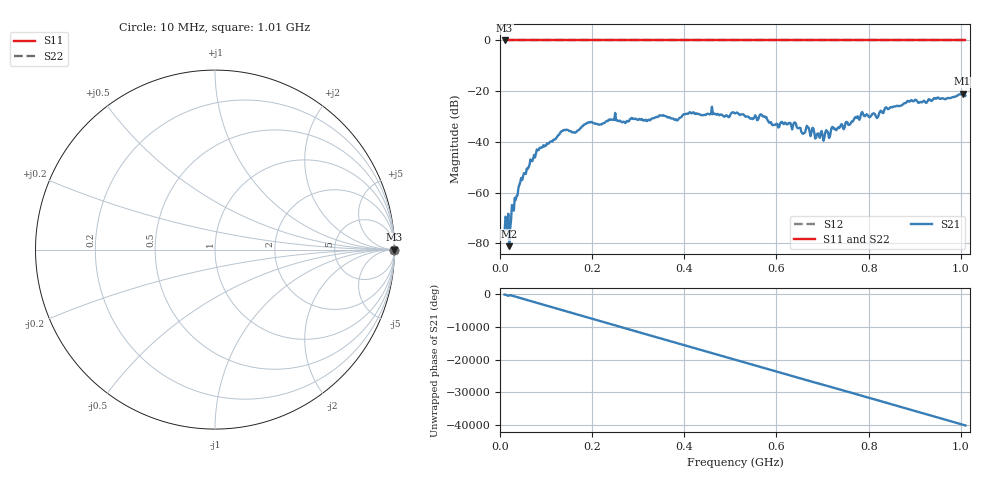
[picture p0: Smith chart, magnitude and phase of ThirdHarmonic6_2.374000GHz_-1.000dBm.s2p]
! 8/17/2025 3:44:16 AM
! C:\ANRITSUVNA\TEMP\TEMP.S2P
! CHANNEL.1
! TR.MEASUREMENT
! RAW.DATA
! RF.CORRECTION.OFF
! AVERAGING.OFF
! IF.BANDWIDTH: 5KHZ
! SWEEPTYPE:  FREQ.SWEEP(Linear)
! Reference Plane Port Info
! PORT:  PORT1  PORT2
! DISTANCE:  0  m  0  m
! TIME:  0  s  0  s
! PHASE.OFFSET:  0  deg.  0  deg.
! LOSS:  0  dB  0  dB
! REF.LOSS:  0  dB  0  dB
! REF.FREQ:  0  Hz  0  Hz
! Power Info
! POWER:  -20  dBm  -20  dBm
! EFF.POWER:  -20  dBm  -20  dBm
! SOURCE.ATTEN:  0  dB  0  dB
! TEST.ATTEN:  0  dB  0  dB
# GHZ S RI R 50.0
! FREQ.GHZ  S11RE  S11IM  S21RE  S21IM  S12RE  S12IM  S22RE  S22IM
!; PortSelection: Port_12
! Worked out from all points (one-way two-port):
!   501 points, 10 MHz to 1.01 GHz, reference 50 ohm
!   highest |S21| = -21.00 dB at 1.004 GHz (marker M1); lowest = -81.1 dB at 20 MHz (marker M2)
!   lowest |S11| = 0.0 dB at 10 MHz (marker M3)
!   |S11| at or under -10 dB: nowhere
!   |S22| runs from 0.0 to 0.0 dB; largest |S21 - S12| = 1.1
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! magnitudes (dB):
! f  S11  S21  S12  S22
! 10 MHz  0.0  -75.0  0.0  0.0
! 14 MHz  0.0  -70.4  0.0  0.0
! 20 MHz  0.0  -81.1  0.0  0.0
! 30 MHz  0.0  -67.1  0.0  0.0
! 44 MHz  0.0  -55.8  0.0  0.0
! 82 MHz  0.0  -43.2  0.0  0.0
! 136 MHz  0.0  -35.7  0.0  0.0
! 162 MHz  0.0  -36.3  0.0  0.0
! 178 MHz  0.0  -33.9  0.0  0.0
! 246 MHz  0.0  -31.3  0.0  0.0
! 268 MHz  0.0  -32.0  0.0  0.0
! 344 MHz  0.0  -30.0  0.0  0.0
! 382 MHz  0.0  -31.1  0.0  0.0
! 416 MHz  0.0  -28.8  0.0  0.0
! 510 MHz  0.0  -28.8  0.0  0.0
! 678 MHz  0.0  -34.4  0.0  0.0
! 714 MHz  0.0  -38.4  0.0  0.0
! 786 MHz  0.0  -28.2  0.0  0.0
! 818 MHz  0.0  -30.6  0.0  0.0
! 844 MHz  0.0  -26.9  0.0  0.0
! 1.004 GHz  0.0  -21.0  0.0  0.0
! 1.01 GHz  0.0  -21.8  0.0  0.0
